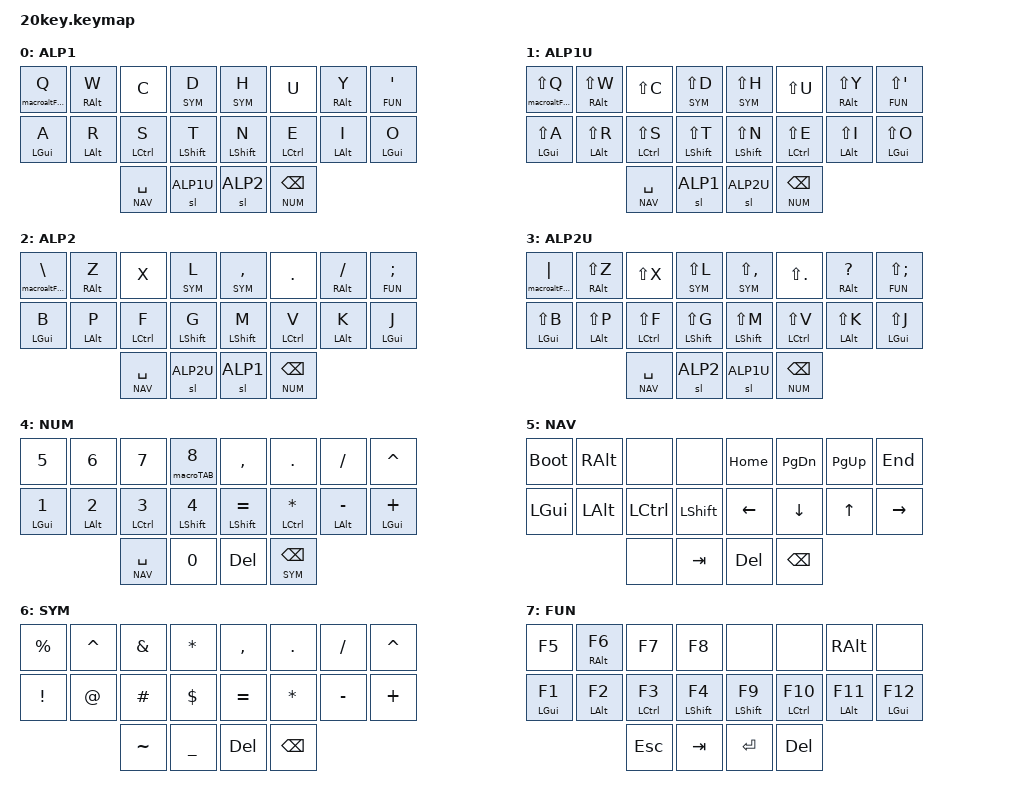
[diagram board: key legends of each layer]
#include <behaviors.dtsi>
#include <dt-bindings/zmk/keys.h>
#include <dt-bindings/zmk/bt.h>

#define ALP1 0
#define ALP1U 1
#define ALP2 2
#define ALP2U 3
#define NUM 4
#define NAV 5
#define SYM 6
#define FUN 7

/ {
	macros {
		macroaltFUN: macroaltFUN {
			label = "ZM_macroaltFUN";
			compatible = "zmk,behavior-macro";
            #binding-cells = <0>;
			wait-ms = <0>;
			bindings
    			= <&macro_press &mo FUN &kp LALT>
    			, <&macro_pause_for_release>
    			, <&macro_release &mo FUN &kp LALT>;
		};
		macroTAB: macroTAB {
            label = "ZM_macroTAB";
            compatible = "zmk,behavior-macro";
            #binding-cells = <0>;
            bindings = <&kp TAB>;
        };
    };

	combos {
		compatible = "zmk,combos";
		combo_9 {
			timeout-ms = <50>;
			key-positions = <3 11>;
			bindings = <&hTab_tKp 0 N9>;
			layers = <4>;
		};
		combo_tab {
			timeout-ms = <50>;
			key-positions = <3 11>;
			bindings = <&kp TAB>;
			layers = <0 1 2 3 5>;
		};
		combo_enter {
			timeout-ms = <50>;
			key-positions = <4 12>;
			bindings = <&kp ENTER>;
		};
		combo_del {
        	timeout-ms = <50>;
            key-positions = <18 19>;
        	bindings = <&kp DEL>;
		};
		combo_esc {
			timeout-ms = <50>;
			key-positions = <16 17>;
			bindings = <&kp ESC>;
			layers = <0 1 2 3 5>;
		};
		combo_undo {
			timeout-ms = <50>;
			key-positions = <0 10>;
			bindings = <&kp LC(Z)>;
		};
		combo_cut {
			timeout-ms = <50>;
			key-positions = <1 10>;
			bindings = <&kp LC(X)>;
		};
		combo_copy {
			timeout-ms = <50>;
			key-positions = <2 10>;
			bindings = <&kp LC(C)>;
		};
		combo_paste {
			timeout-ms = <50>;
			key-positions = <3 10>;
			bindings = <&kp LC(V)>;
		};
		combo_redo {
			timeout-ms = <50>;
			key-positions = <6 10>;
			bindings = <&kp LC(Y)>;
		};
		combo_find {
			timeout-ms = <50>;
			key-positions = <5 13>;
			bindings = <&kp LC(F)>;
			layers = <0 1 2 3>;
		};
		combo_print {
			timeout-ms = <50>;
			key-positions = <4 13>;
			bindings = <&kp LC(P)>;
			layers = <0 1 2 3>;
		};
		combo_lp {
			timeout-ms = <50>;
			key-positions = <8 9>;
			bindings = <&kp LPAR>;
		};
		combo_rp {
			timeout-ms = <50>;
			key-positions = <10 11>;
			bindings = <&kp RPAR>;
		};
		combo_lbk {
			timeout-ms = <50>;
			key-positions = <0 1>;
			bindings = <&kp LBKT>;
		};
		combo_rbk {
			timeout-ms = <50>;
			key-positions = <2 3>;
			bindings = <&kp RBKT>;
		};
		combo_lbc {
			timeout-ms = <50>;
			key-positions = <4 5>;
			bindings = <&kp LBRC>;
		};
		combo_rbc {
			timeout-ms = <50>;
			key-positions = <6 7>;
			bindings = <&kp RBRC>;
		};
	};

    behaviors {
		l_t: l_t {
      		compatible = "zmk,behavior-hold-tap";
      		label = "l_t";
      		#binding-cells = <2>;
      		tapping_term_ms = <201>;
      		flavor = "tap-preferred";
      		bindings = <&mo>, <&kp>;
    	};
		hKp_tKp: hKp_tKp {
      		compatible = "zmk,behavior-hold-tap";
      		label = "hKp_tKp";
      		#binding-cells = <2>;
      		tapping_term_ms = <201>;
      		flavor = "tap-preferred";
      		bindings = <&kp>, <&kp>;
    	};
		hTab_tKp: hTab_tKp {
      		compatible = "zmk,behavior-hold-tap";
      		label = "hTab_tKp";
      		#binding-cells = <2>;
      		tapping_term_ms = <201>;
      		flavor = "tap-preferred";
      		bindings = <&macroTAB>, <&kp>;
    	};
		hAltF_tkp: hAltF_tkp {
      		compatible = "zmk,behavior-hold-tap";
      		label = "hAltF_tkp";
      		#binding-cells = <2>;
      		tapping_term_ms = <201>;
      		flavor = "tap-preferred";
      		bindings = <&macroaltFUN>, <&kp>;
    	};
		hTog_tSl: hTog_tSl {
      		compatible = "zmk,behavior-hold-tap";
      		label = "hTog_tSl";
      		#binding-cells = <2>;
      		tapping_term_ms = <221>;
      		flavor = "tap-preferred";
      		bindings = <&tog>, <&sl>;
    	};
		hTog_tKp: hTog_tKp {
      		compatible = "zmk,behavior-hold-tap";
      		label = "hTog_tKp";
      		#binding-cells = <2>;
      		tapping_term_ms = <221>;
      		flavor = "tap-preferred";
      		bindings = <&tog>, <&kp>;
    	};
		td: tapdance {
            compatible = "zmk,behavior-hold-tap";
            label = "TAPDANCE";
            #binding-cells = <2>;
            tapping-term-ms = <190>;
            quick-tap-ms = <250>;
            flavor = "tap-preferred";
            bindings = <&kp>, <&kp>;
        };
	};

    keymap {
    	compatible = "zmk,keymap";
       	ALP1 {
		bindings = <
		&hAltF_tkp 0 Q       &hKp_tKp RALT W      &kp C    			   &l_t SYM D                  &l_t SYM H           &kp U                &hKp_tKp RALT Y      &l_t FUN SQT
        &hKp_tKp LGUI A      &hKp_tKp LALT R      &hKp_tKp LCTRL S     &hKp_tKp LSHFT T     	   &hKp_tKp LSHFT N     &hKp_tKp LCTRL E     &hKp_tKp LALT I      &hKp_tKp LGUI O
                                                  &l_t NAV SPACE   	   &sl ALP1U        		   &sl ALP2             &l_t NUM BSPC
		>;
        };
		ALP1U {
		bindings = <
		&hAltF_tkp 0 LS(Q)    &hKp_tKp RALT LS(W) &kp LS(C)            &l_t SYM LS(D)              &l_t SYM LS(H)       &kp LS(U)            &hKp_tKp RALT LS(Y)  &l_t FUN LS(SQT)
        &hKp_tKp LGUI LS(A)   &hKp_tKp LALT LS(R) &hKp_tKp LCTRL LS(S) &hKp_tKp LSHFT LS(T)        &hKp_tKp LSHFT LS(N) &hKp_tKp LCTRL LS(E) &hKp_tKp LALT LS(I)  &hKp_tKp LGUI LS(O)
                                                  &l_t NAV SPACE       &sl ALP1                    &sl ALP2U            &l_t NUM BSPC 
		>;
		};
		ALP2 {
		bindings = <
		&hAltF_tkp 0 BSLH    &hKp_tKp RALT Z      &kp X                &l_t SYM L                  &l_t SYM COMMA       &kp DOT              &hKp_tKp RALT FSLH   &l_t FUN SEMI
        &hKp_tKp LGUI B      &hKp_tKp LALT P      &hKp_tKp LCTRL F     &hKp_tKp LSHFT G            &hKp_tKp LSHFT M     &hKp_tKp LCTRL V     &hKp_tKp LALT K      &hKp_tKp LGUI J
                                                  &l_t NAV SPACE       &sl ALP2U                   &sl ALP1             &l_t NUM BSPC 
		>;
		};
       	ALP2U {
		bindings = <
		&hAltF_tkp 0 PIPE    &hKp_tKp RALT LS(Z)  &kp LS(X)            &l_t SYM LS(L)              &l_t SYM LS(COMMA)   &kp LS(DOT)          &hKp_tKp RALT QMARK  &l_t FUN LS(SEMI)
        &hKp_tKp LGUI LS(B)  &hKp_tKp LALT LS(P)  &hKp_tKp LCTRL LS(F) &hKp_tKp LSHFT LS(G)        &hKp_tKp LSHFT LS(M) &hKp_tKp LCTRL LS(V) &hKp_tKp LALT LS(K)  &hKp_tKp LGUI LS(J)
                                                  &l_t NAV SPACE       &sl ALP2                    &sl ALP1U            &l_t NUM BSPC
		>;
		};
       	NUM {
		bindings = <
		&kp N5               &kp N6               &kp N7               &hTab_tKp 0 N8              &kp COMMA            &kp DOT              &kp FSLH             &kp CARET
		&hKp_tKp LGUI N1     &hKp_tKp LALT N2     &hKp_tKp LCTRL N3    &hKp_tKp LSHFT N4           &hKp_tKp LSHFT EQUAL &hKp_tKp LCTRL STAR  &hKp_tKp LALT MINUS  &hKp_tKp LGUI PLUS
                                                  &l_t NAV SPACE       &kp N0                      &kp DEL              &l_t SYM BSPC 
		>;
		};
		NAV {
		bindings = <
		&bootloader          &kp RALT             &none                &none                       &kp HOME             &kp PG_DN            &kp PG_UP            &kp END
        &kp LGUI             &kp LALT             &kp LCTRL            &kp LSHFT                   &kp LEFT             &kp DOWN             &kp UP               &kp RIGHT
                                                  &none                &kp TAB                     &kp DEL              &kp BSPC
		>;
		};
		SYM {
		bindings = <
		&kp PRCNT            &kp CARET            &kp AMPERSAND        &kp ASTRK                   &kp COMMA            &kp DOT              &kp FSLH             &kp CARET  
        &kp EXCL             &kp AT               &kp HASH             &kp DLLR                    &kp EQUAL            &kp STAR             &kp MINUS            &kp PLUS
                                                  &kp TILDE            &kp UNDERSCORE              &kp DEL              &kp BSPC
		>;
		};
       	FUN {
		bindings = <
		&kp F5               &hKp_tKp RALT F6     &kp F7               &kp F8                      &none                &none                &kp RALT             &none    
        &hKp_tKp LGUI F1     &hKp_tKp LALT F2     &hKp_tKp LCTRL F3    &hKp_tKp LSHFT F4           &hKp_tKp LSHFT F9    &hKp_tKp LCTRL F10   &hKp_tKp LALT F11    &hKp_tKp LGUI F12
                                                  &kp ESC              &kp TAB	                   &kp ENTER            &kp DEL 
		>;
		};
    };
};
